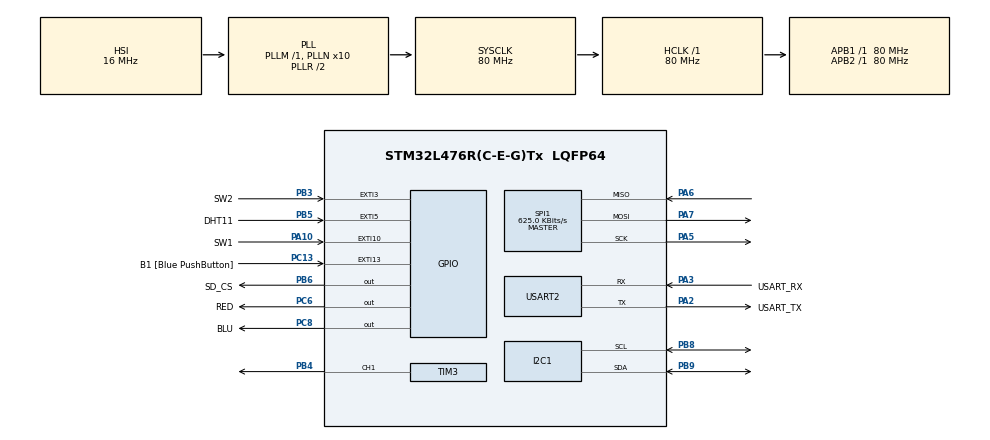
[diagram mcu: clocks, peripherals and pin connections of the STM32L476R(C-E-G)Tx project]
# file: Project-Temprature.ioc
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FREERTOS.Tasks01=defaultTask,16,128,StartDefaultTask,Default,NULL,Dynamic,NULL,NULL;myTask02,24,256,StartTask02,As weak,NULL,Dynamic,NULL,NULL;myTask03,40,256,StartTask03,As weak,NULL,Dynamic,NULL,NULL;myTask04,24,256,StartTask04,As weak,NULL,Dynamic,NULL,NULL;myTask05,24,128,StartTask05,As weak,NULL,Dynamic,NULL,NULL;myTask06,24,256,StartTask06,Default,NULL,Dynamic,NULL,NULL;myTask07,24,256,StartTask07,Default,NULL,Dynamic,NULL,NULL
FREERTOS.configTOTAL_HEAP_SIZE=8000
I2C1.Timing=0x10909CEC
Mcu.Family=STM32L4
Mcu.Name=STM32L476R(C-E-G)Tx
Mcu.Package=LQFP64
NVIC.EXTI15_10_IRQn=true\:5\:0\:false\:false\:true\:true\:true\:true\:true
NVIC.EXTI3_IRQn=true\:5\:0\:false\:false\:true\:true\:true\:true\:true
NVIC.EXTI9_5_IRQn=true\:5\:0\:false\:false\:true\:true\:true\:true\:true
NVIC.PriorityGroup=NVIC_PRIORITYGROUP_4
NVIC.TIM3_IRQn=true\:5\:0\:false\:false\:true\:true\:true\:true\:true
NVIC.TIM7_IRQn=true\:5\:0\:false\:false\:true\:true\:true\:true\:true
PA10.GPIO_Label=SW1
PA10.GPIO_ModeDefaultEXTI=GPIO_MODE_IT_FALLING
PA10.Signal=GPXTI10
PA13\ (JTMS-SWDIO).GPIO_Label=TMS
PA13\ (JTMS-SWDIO).Mode=Serial_Wire
PA13\ (JTMS-SWDIO).Signal=SYS_JTMS-SWDIO
PA14\ (JTCK-SWCLK).GPIO_Label=TCK
PA14\ (JTCK-SWCLK).Mode=Serial_Wire
PA14\ (JTCK-SWCLK).Signal=SYS_JTCK-SWCLK
PA2.GPIO_Label=USART_TX
PA2.GPIO_Mode=GPIO_MODE_AF_PP
PA2.GPIO_PuPd=GPIO_NOPULL
PA2.GPIO_Speed=GPIO_SPEED_FREQ_VERY_HIGH
PA2.Mode=Asynchronous
PA2.Signal=USART2_TX
PA3.GPIO_Label=USART_RX
PA3.GPIO_Mode=GPIO_MODE_AF_PP
PA3.GPIO_PuPd=GPIO_NOPULL
PA3.GPIO_Speed=GPIO_SPEED_FREQ_VERY_HIGH
PA3.Mode=Asynchronous
PA3.Signal=USART2_RX
PA5.Mode=Full_Duplex_Master
PA5.Signal=SPI1_SCK
PA6.Mode=Full_Duplex_Master
PA6.Signal=SPI1_MISO
PA7.Mode=Full_Duplex_Master
PA7.Signal=SPI1_MOSI
PB3\ (JTDO-TRACESWO).GPIO_Label=SW2
PB3\ (JTDO-TRACESWO).GPIO_ModeDefaultEXTI=GPIO_MODE_IT_RISING_FALLING
PB3\ (JTDO-TRACESWO).Signal=GPXTI3
PB4\ (NJTRST).Signal=S_TIM3_CH1
PB5.GPIO_Label=DHT11
PB5.GPIO_ModeDefaultEXTI=GPIO_MODE_IT_FALLING
PB5.Signal=GPXTI5
PB6.GPIO_Label=SD_CS
PB6.Signal=GPIO_Output
PB8.Mode=I2C
PB8.Signal=I2C1_SCL
PB9.Mode=I2C
PB9.Signal=I2C1_SDA
PC13.GPIO_Label=B1 [Blue PushButton]
PC13.GPIO_ModeDefaultEXTI=GPIO_MODE_IT_FALLING
PC13.GPIO_PuPd=GPIO_NOPULL
PC13.Signal=GPXTI13
PC14-OSC32_IN\ (PC14).Mode=LSE-External-Oscillator
PC14-OSC32_IN\ (PC14).Signal=RCC_OSC32_IN
PC15-OSC32_OUT\ (PC15).Mode=LSE-External-Oscillator
PC15-OSC32_OUT\ (PC15).Signal=RCC_OSC32_OUT
PC6.GPIO_Label=RED
PC6.Signal=GPIO_Output
PC8.GPIO_Label=BLU
PC8.Signal=GPIO_Output
PH0-OSC_IN\ (PH0).Signal=RCC_OSC_IN
PH1-OSC_OUT\ (PH1).Signal=RCC_OSC_OUT
ProjectManager.HeapSize=0x200
ProjectManager.StackSize=0x400
ProjectManager.TargetToolchain=STM32CubeIDE
RCC.ADCFreq_Value=64000000
RCC.AHBFreq_Value=80000000
RCC.APB1Freq_Value=80000000
RCC.APB1TimFreq_Value=80000000
RCC.APB2Freq_Value=80000000
RCC.APB2TimFreq_Value=80000000
RCC.CortexFreq_Value=80000000
RCC.HCLKFreq_Value=80000000
RCC.HSE_VALUE=8000000
RCC.HSI_VALUE=16000000
RCC.MSI_VALUE=4000000
RCC.PLLN=10
RCC.PLLSourceVirtual=RCC_PLLSOURCE_HSI
RCC.PREFETCH_ENABLE=1
RCC.SYSCLKFreq_VALUE=80000000
RCC.SYSCLKSource=RCC_SYSCLKSOURCE_PLLCLK
RCC.USBFreq_Value=64000000
RCC.VCOOutputFreq_Value=160000000
SH.S_TIM3_CH1.0=TIM3_CH1,PWM Generation1 CH1
SPI1.BaudRatePrescaler=SPI_BAUDRATEPRESCALER_128
SPI1.CalculateBaudRate=625.0 KBits/s
SPI1.DataSize=SPI_DATASIZE_8BIT
SPI1.Direction=SPI_DIRECTION_2LINES
SPI1.Mode=SPI_MODE_MASTER
SPI1.VirtualType=VM_MASTER
TIM3.Channel-PWM\ Generation1\ CH1=TIM_CHANNEL_1
TIM3.Period=100
TIM3.Prescaler=799
TIM3.Pulse-PWM\ Generation1\ CH1=50
TIM6.Period=65535
TIM6.Prescaler=79
TIM7.Period=65535
TIM7.Prescaler=79
USART2.VirtualMode-Asynchronous=VM_ASYNC
VP_FATFS_VS_Generic.Mode=User_defined
VP_FREERTOS_VS_CMSIS_V2.Mode=CMSIS_V2
VP_TIM6_VS_ClockSourceINT.Mode=Enable_Timer
VP_TIM7_VS_ClockSourceINT.Mode=Enable_Timer
board=NUCLEO-L476RG

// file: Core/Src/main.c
/* USER CODE BEGIN Header */
/**
  ******************************************************************************
  * @file           : main.c
  * @brief          : Main program body
  ******************************************************************************
  * @attention
  *
  * Copyright (c) 2022 STMicroelectronics.
  * All rights reserved.
  *
  * This software is licensed under terms that can be found in the LICENSE file
  * in the root directory of this software component.
  * If no LICENSE file comes with this software, it is provided AS-IS.
  *
  ******************************************************************************
  */
/* USER CODE END Header */
#include "main.h"
#include "cmsis_os.h"
#include "fatfs.h"

/* USER CODE BEGIN Includes */
#include "MyMain.h"
#include "commTask.h"
#include <stdio.h>
/* USER CODE END Includes */

I2C_HandleTypeDef hi2c1;

SPI_HandleTypeDef hspi1;

TIM_HandleTypeDef htim3;
TIM_HandleTypeDef htim6;
TIM_HandleTypeDef htim7;

UART_HandleTypeDef huart2;

/* Definitions for defaultTask */
osThreadId_t defaultTaskHandle;
const osThreadAttr_t defaultTask_attributes = {
  .name = "defaultTask",
  .stack_size = 128 * 4,
  .priority = (osPriority_t) osPriorityBelowNormal,
};
/* Definitions for myTask02 */
osThreadId_t myTask02Handle;
const osThreadAttr_t myTask02_attributes = {
  .name = "myTask02",
  .stack_size = 256 * 4,
  .priority = (osPriority_t) osPriorityNormal,
};
/* Definitions for myTask03 */
osThreadId_t myTask03Handle;
const osThreadAttr_t myTask03_attributes = {
  .name = "myTask03",
  .stack_size = 256 * 4,
  .priority = (osPriority_t) osPriorityHigh,
};
/* Definitions for myTask04 */
osThreadId_t myTask04Handle;
const osThreadAttr_t myTask04_attributes = {
  .name = "myTask04",
  .stack_size = 256 * 4,
  .priority = (osPriority_t) osPriorityNormal,
};
/* Definitions for myTask05 */
osThreadId_t myTask05Handle;
const osThreadAttr_t myTask05_attributes = {
  .name = "myTask05",
  .stack_size = 128 * 4,
  .priority = (osPriority_t) osPriorityNormal,
};
/* Definitions for myTask06 */
osThreadId_t myTask06Handle;
const osThreadAttr_t myTask06_attributes = {
  .name = "myTask06",
  .stack_size = 256 * 4,
  .priority = (osPriority_t) osPriorityNormal,
};
/* Definitions for myTask07 */
osThreadId_t myTask07Handle;
const osThreadAttr_t myTask07_attributes = {
  .name = "myTask07",
  .stack_size = 256 * 4,
  .priority = (osPriority_t) osPriorityNormal,
};

void SystemClock_Config(void);
static void MX_GPIO_Init(void);
static void MX_USART2_UART_Init(void);
static void MX_TIM6_Init(void);
static void MX_TIM7_Init(void);
static void MX_TIM3_Init(void);
static void MX_I2C1_Init(void);
static void MX_SPI1_Init(void);
void StartDefaultTask(void *argument);
void StartTask02(void *argument);
void StartTask03(void *argument);
void StartTask04(void *argument);
void StartTask05(void *argument);
void StartTask06(void *argument);
void StartTask07(void *argument);

/* USER CODE BEGIN 0 */
int _write(int fd, char* ptr, int len) {
    HAL_UART_Transmit(&huart2, (uint8_t *) ptr, len, HAL_MAX_DELAY);
    return len;
}
/* USER CODE END 0 */

int main(void)
{

  /* MCU Configuration--------------------------------------------------------*/

  /* Reset of all peripherals, Initializes the Flash interface and the Systick. */
  HAL_Init();

  /* Configure the system clock */
  SystemClock_Config();

  /* Initialize all configured peripherals */
  MX_GPIO_Init();
  MX_USART2_UART_Init();
  MX_TIM6_Init();
  MX_TIM7_Init();
  MX_TIM3_Init();
  MX_I2C1_Init();
  MX_SPI1_Init();
  MX_FATFS_Init();
  /* USER CODE BEGIN 2 */
  printf("CHECK from main.c\r\n");

  HAL_NVIC_EnableIRQ( TIM6_IRQn );
  HAL_NVIC_EnableIRQ( TIM3_IRQn  );
  //HAL_NVIC_EnableIRQ( TIM7_IRQn  );

  //HAL_TIM_Base_Start_IT(&htim7);

//  HAL_TIM_Base_Start(&htim3);
//  HAL_TIM_PWM_Start(&htim3, TIM_CHANNEL_1);

  my_main();

  /* USER CODE END 2 */

  /* Init scheduler */
  osKernelInitialize();

  /* Create the thread(s) */
  /* creation of defaultTask */
  defaultTaskHandle = osThreadNew(StartDefaultTask, NULL, &defaultTask_attributes);

  /* creation of myTask02 */
  myTask02Handle = osThreadNew(StartTask02, NULL, &myTask02_attributes);

  /* creation of myTask03 */
  myTask03Handle = osThreadNew(StartTask03, NULL, &myTask03_attributes);

  /* creation of myTask04 */
  myTask04Handle = osThreadNew(StartTask04, NULL, &myTask04_attributes);

  /* creation of myTask05 */
  myTask05Handle = osThreadNew(StartTask05, NULL, &myTask05_attributes);

  /* creation of myTask06 */
  myTask06Handle = osThreadNew(StartTask06, NULL, &myTask06_attributes);

  /* creation of myTask07 */
  myTask07Handle = osThreadNew(StartTask07, NULL, &myTask07_attributes);

  /* Start scheduler */
  osKernelStart();

  /* We should never get here as control is now taken by the scheduler */
  /* Infinite loop */
  while (1)
  {

  }
}

void SystemClock_Config(void)
{
  RCC_OscInitTypeDef RCC_OscInitStruct = {0};
  RCC_ClkInitTypeDef RCC_ClkInitStruct = {0};

  /** Configure the main internal regulator output voltage
  */
  if (HAL_PWREx_ControlVoltageScaling(PWR_REGULATOR_VOLTAGE_SCALE1) != HAL_OK)
  {
    Error_Handler();
  }

  /** Initializes the RCC Oscillators according to the specified parameters
  * in the RCC_OscInitTypeDef structure.
  */
  RCC_OscInitStruct.OscillatorType = RCC_OSCILLATORTYPE_HSI;
  RCC_OscInitStruct.HSIState = RCC_HSI_ON;
  RCC_OscInitStruct.HSICalibrationValue = RCC_HSICALIBRATION_DEFAULT;
  RCC_OscInitStruct.PLL.PLLState = RCC_PLL_ON;
  RCC_OscInitStruct.PLL.PLLSource = RCC_PLLSOURCE_HSI;
  RCC_OscInitStruct.PLL.PLLM = 1;
  RCC_OscInitStruct.PLL.PLLN = 10;
  RCC_OscInitStruct.PLL.PLLP = RCC_PLLP_DIV7;
  RCC_OscInitStruct.PLL.PLLQ = RCC_PLLQ_DIV2;
  RCC_OscInitStruct.PLL.PLLR = RCC_PLLR_DIV2;
  if (HAL_RCC_OscConfig(&RCC_OscInitStruct) != HAL_OK)
  {
    Error_Handler();
  }

  /** Initializes the CPU, AHB and APB buses clocks
  */
  RCC_ClkInitStruct.ClockType = RCC_CLOCKTYPE_HCLK|RCC_CLOCKTYPE_SYSCLK
                              |RCC_CLOCKTYPE_PCLK1|RCC_CLOCKTYPE_PCLK2;
  RCC_ClkInitStruct.SYSCLKSource = RCC_SYSCLKSOURCE_PLLCLK;
  RCC_ClkInitStruct.AHBCLKDivider = RCC_SYSCLK_DIV1;
  RCC_ClkInitStruct.APB1CLKDivider = RCC_HCLK_DIV1;
  RCC_ClkInitStruct.APB2CLKDivider = RCC_HCLK_DIV1;

  if (HAL_RCC_ClockConfig(&RCC_ClkInitStruct, FLASH_LATENCY_4) != HAL_OK)
  {
    Error_Handler();
  }
}

static void MX_I2C1_Init(void)
{

  hi2c1.Instance = I2C1;
  hi2c1.Init.Timing = 0x10909CEC;
  hi2c1.Init.OwnAddress1 = 0;
  hi2c1.Init.AddressingMode = I2C_ADDRESSINGMODE_7BIT;
  hi2c1.Init.DualAddressMode = I2C_DUALADDRESS_DISABLE;
  hi2c1.Init.OwnAddress2 = 0;
  hi2c1.Init.OwnAddress2Masks = I2C_OA2_NOMASK;
  hi2c1.Init.GeneralCallMode = I2C_GENERALCALL_DISABLE;
  hi2c1.Init.NoStretchMode = I2C_NOSTRETCH_DISABLE;
  if (HAL_I2C_Init(&hi2c1) != HAL_OK)
  {
    Error_Handler();
  }

  /** Configure Analogue filter
  */
  if (HAL_I2CEx_ConfigAnalogFilter(&hi2c1, I2C_ANALOGFILTER_ENABLE) != HAL_OK)
  {
    Error_Handler();
  }

  /** Configure Digital filter
  */
  if (HAL_I2CEx_ConfigDigitalFilter(&hi2c1, 0) != HAL_OK)
  {
    Error_Handler();
  }

}

static void MX_SPI1_Init(void)
{

  /* SPI1 parameter configuration*/
  hspi1.Instance = SPI1;
  hspi1.Init.Mode = SPI_MODE_MASTER;
  hspi1.Init.Direction = SPI_DIRECTION_2LINES;
  hspi1.Init.DataSize = SPI_DATASIZE_8BIT;
  hspi1.Init.CLKPolarity = SPI_POLARITY_LOW;
  hspi1.Init.CLKPhase = SPI_PHASE_1EDGE;
  hspi1.Init.NSS = SPI_NSS_SOFT;
  hspi1.Init.BaudRatePrescaler = SPI_BAUDRATEPRESCALER_128;
  hspi1.Init.FirstBit = SPI_FIRSTBIT_MSB;
  hspi1.Init.TIMode = SPI_TIMODE_DISABLE;
  hspi1.Init.CRCCalculation = SPI_CRCCALCULATION_DISABLE;
  hspi1.Init.CRCPolynomial = 7;
  hspi1.Init.CRCLength = SPI_CRC_LENGTH_DATASIZE;
  hspi1.Init.NSSPMode = SPI_NSS_PULSE_ENABLE;
  if (HAL_SPI_Init(&hspi1) != HAL_OK)
  {
    Error_Handler();
  }

}

static void MX_TIM3_Init(void)
{

  TIM_MasterConfigTypeDef sMasterConfig = {0};
  TIM_OC_InitTypeDef sConfigOC = {0};

  htim3.Instance = TIM3;
  htim3.Init.Prescaler = 799;
  htim3.Init.CounterMode = TIM_COUNTERMODE_UP;
  htim3.Init.Period = 100;
  htim3.Init.ClockDivision = TIM_CLOCKDIVISION_DIV1;
  htim3.Init.AutoReloadPreload = TIM_AUTORELOAD_PRELOAD_DISABLE;
  if (HAL_TIM_PWM_Init(&htim3) != HAL_OK)
  {
    Error_Handler();
  }
  sMasterConfig.MasterOutputTrigger = TIM_TRGO_RESET;
  sMasterConfig.MasterSlaveMode = TIM_MASTERSLAVEMODE_DISABLE;
  if (HAL_TIMEx_MasterConfigSynchronization(&htim3, &sMasterConfig) != HAL_OK)
  {
    Error_Handler();
  }
  sConfigOC.OCMode = TIM_OCMODE_PWM1;
  sConfigOC.Pulse = 50;
  sConfigOC.OCPolarity = TIM_OCPOLARITY_HIGH;
  sConfigOC.OCFastMode = TIM_OCFAST_DISABLE;
  if (HAL_TIM_PWM_ConfigChannel(&htim3, &sConfigOC, TIM_CHANNEL_1) != HAL_OK)
  {
    Error_Handler();
  }
  HAL_TIM_MspPostInit(&htim3);

}

static void MX_TIM6_Init(void)
{

  TIM_MasterConfigTypeDef sMasterConfig = {0};

  htim6.Instance = TIM6;
  htim6.Init.Prescaler = 79;
  htim6.Init.CounterMode = TIM_COUNTERMODE_UP;
  htim6.Init.Period = 65535;
  htim6.Init.AutoReloadPreload = TIM_AUTORELOAD_PRELOAD_DISABLE;
  if (HAL_TIM_Base_Init(&htim6) != HAL_OK)
  {
    Error_Handler();
  }
  sMasterConfig.MasterOutputTrigger = TIM_TRGO_RESET;
  sMasterConfig.MasterSlaveMode = TIM_MASTERSLAVEMODE_DISABLE;
  if (HAL_TIMEx_MasterConfigSynchronization(&htim6, &sMasterConfig) != HAL_OK)
  {
    Error_Handler();
  }

}

static void MX_TIM7_Init(void)
{

  TIM_MasterConfigTypeDef sMasterConfig = {0};

  htim7.Instance = TIM7;
  htim7.Init.Prescaler = 79;
  htim7.Init.CounterMode = TIM_COUNTERMODE_UP;
  htim7.Init.Period = 65535;
  htim7.Init.AutoReloadPreload = TIM_AUTORELOAD_PRELOAD_DISABLE;
  if (HAL_TIM_Base_Init(&htim7) != HAL_OK)
  {
    Error_Handler();
  }
  sMasterConfig.MasterOutputTrigger = TIM_TRGO_RESET;
  sMasterConfig.MasterSlaveMode = TIM_MASTERSLAVEMODE_DISABLE;
  if (HAL_TIMEx_MasterConfigSynchronization(&htim7, &sMasterConfig) != HAL_OK)
  {
    Error_Handler();
  }

}

static void MX_USART2_UART_Init(void)
{

  huart2.Instance = USART2;
  huart2.Init.BaudRate = 115200;
  huart2.Init.WordLength = UART_WORDLENGTH_8B;
  huart2.Init.StopBits = UART_STOPBITS_1;
  huart2.Init.Parity = UART_PARITY_NONE;
  huart2.Init.Mode = UART_MODE_TX_RX;
  huart2.Init.HwFlowCtl = UART_HWCONTROL_NONE;
  huart2.Init.OverSampling = UART_OVERSAMPLING_16;
  huart2.Init.OneBitSampling = UART_ONE_BIT_SAMPLE_DISABLE;
  huart2.AdvancedInit.AdvFeatureInit = UART_ADVFEATURE_NO_INIT;
  if (HAL_UART_Init(&huart2) != HAL_OK)
  {
    Error_Handler();
  }

}

static void MX_GPIO_Init(void)
{
  GPIO_InitTypeDef GPIO_InitStruct = {0};

  /* GPIO Ports Clock Enable */
  __HAL_RCC_GPIOC_CLK_ENABLE();
  __HAL_RCC_GPIOH_CLK_ENABLE();
  __HAL_RCC_GPIOA_CLK_ENABLE();
  __HAL_RCC_GPIOB_CLK_ENABLE();

  /*Configure GPIO pin Output Level */
  HAL_GPIO_WritePin(GPIOC, RED_Pin|BLU_Pin, GPIO_PIN_RESET);

  /*Configure GPIO pin Output Level */
  HAL_GPIO_WritePin(SD_CS_GPIO_Port, SD_CS_Pin, GPIO_PIN_RESET);

  /*Configure GPIO pin : B1_Pin */
  GPIO_InitStruct.Pin = B1_Pin;
  GPIO_InitStruct.Mode = GPIO_MODE_IT_FALLING;
  GPIO_InitStruct.Pull = GPIO_NOPULL;
  HAL_GPIO_Init(B1_GPIO_Port, &GPIO_InitStruct);

  /*Configure GPIO pins : RED_Pin BLU_Pin */
  GPIO_InitStruct.Pin = RED_Pin|BLU_Pin;
  GPIO_InitStruct.Mode = GPIO_MODE_OUTPUT_PP;
  GPIO_InitStruct.Pull = GPIO_NOPULL;
  GPIO_InitStruct.Speed = GPIO_SPEED_FREQ_LOW;
  HAL_GPIO_Init(GPIOC, &GPIO_InitStruct);

  /*Configure GPIO pin : SW1_Pin */
  GPIO_InitStruct.Pin = SW1_Pin;
  GPIO_InitStruct.Mode = GPIO_MODE_IT_FALLING;
  GPIO_InitStruct.Pull = GPIO_NOPULL;
  HAL_GPIO_Init(SW1_GPIO_Port, &GPIO_InitStruct);

  /*Configure GPIO pin : SW2_Pin */
  GPIO_InitStruct.Pin = SW2_Pin;
  GPIO_InitStruct.Mode = GPIO_MODE_IT_RISING_FALLING;
  GPIO_InitStruct.Pull = GPIO_NOPULL;
  HAL_GPIO_Init(SW2_GPIO_Port, &GPIO_InitStruct);

  /*Configure GPIO pin : DHT11_Pin */
  GPIO_InitStruct.Pin = DHT11_Pin;
  GPIO_InitStruct.Mode = GPIO_MODE_IT_FALLING;
  GPIO_InitStruct.Pull = GPIO_NOPULL;
  HAL_GPIO_Init(DHT11_GPIO_Port, &GPIO_InitStruct);

  /*Configure GPIO pin : SD_CS_Pin */
  GPIO_InitStruct.Pin = SD_CS_Pin;
  GPIO_InitStruct.Mode = GPIO_MODE_OUTPUT_PP;
  GPIO_InitStruct.Pull = GPIO_NOPULL;
  GPIO_InitStruct.Speed = GPIO_SPEED_FREQ_LOW;
  HAL_GPIO_Init(SD_CS_GPIO_Port, &GPIO_InitStruct);

  /* EXTI interrupt init*/
  HAL_NVIC_SetPriority(EXTI3_IRQn, 5, 0);
  HAL_NVIC_EnableIRQ(EXTI3_IRQn);

  HAL_NVIC_SetPriority(EXTI9_5_IRQn, 5, 0);
  HAL_NVIC_EnableIRQ(EXTI9_5_IRQn);

  HAL_NVIC_SetPriority(EXTI15_10_IRQn, 5, 0);
  HAL_NVIC_EnableIRQ(EXTI15_10_IRQn);

}

void StartDefaultTask(void *argument)
{
  for(;;)
  {
    osDelay(1);
  }
}

__weak void StartTask02(void *argument)
{
  /* USER CODE BEGIN StartTask02 */
  /* Infinite loop */

/*
 * ------------------------------------------
 * This task take care of communication with the
 * 		input from keyboard
 * ------------------------------------------
 * */

  for(;;)
  {
//	printf("FROM TASK 2\r\n");
    if(communication()){
    	handleCommand();
    }
	osDelay(1);
  }
  /* USER CODE END StartTask02 */
}

__weak void StartTask03(void *argument)
{
  /* USER CODE BEGIN StartTask03 */
  /* Infinite loop */
/*
 * ------------------------------------------
 * In this task the temperature been measured
 * 		every 1 second and stored in the dht.temperature
 * ------------------------------------------
 * */
  for(;;)
  {
	 dhtTask();
    osDelay(1000);
  }
  /* USER CODE END StartTask03 */
}

__weak void StartTask04(void *argument)
{
  /* USER CODE BEGIN StartTask04 */
  /* Infinite loop */
/*
 * ------------------------------------------
 *	This task takes care of the led blinking.
 *		checks every 100 ms what is the leds state
 *		and if it blink state -> toggle pin.
 * ------------------------------------------
 * */

  for(;;)
  {
	LedTask();
    osDelay(100);
  }
  /* USER CODE END StartTask04 */
}

__weak void StartTask05(void *argument)
{
  /* USER CODE BEGIN StartTask05 */
  /* Infinite loop */
/*
 * ------------------------------------------
 * This task gets the time from the rtc every 1 second
 * 		and stores it in
 * 			[ MyMain.cpp > DateTime CurrentTime ]
 *
 * ------------------------------------------
 * */

  for(;;)
  {
//	TimeTask();
//    osDelay(1000);
  }
  /* USER CODE END StartTask05 */
}

void StartTask06(void *argument)
{
  /* USER CODE BEGIN StartTask06 */
  /* Infinite loop */
/*
 * ------------------------------------------
 * This task gets the temp from the dht every 1 second
 * 		and change the
 * 					  blue led/ red led
 * 					  buzzer
 * 					  monitor states
 * ------------------------------------------
 * */
  for(;;)
  {
	mainTask();
    osDelay(1000);
  }
  /* USER CODE END StartTask06 */
}

void StartTask07(void *argument)
{
  /* USER CODE BEGIN StartTask07 */
  /* Infinite loop */
  for(;;)
  {
	  LogWriteTask();
    osDelay(1);
  }
  /* USER CODE END StartTask07 */
}

void Error_Handler(void)
{
  __disable_irq();
  while (1)
  {
  }
}
